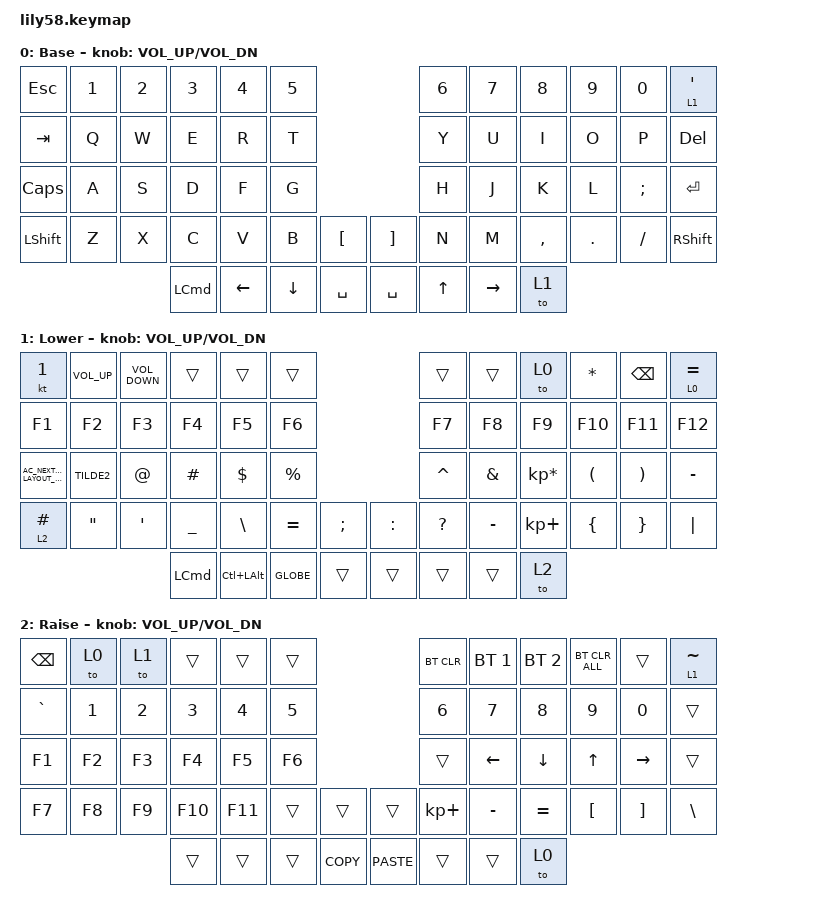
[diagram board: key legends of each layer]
/*
 * Copyright (c) 2020 The ZMK Contributors
 *
 * SPDX-License-Identifier: MIT
 */

#include <behaviors.dtsi>
#include <dt-bindings/zmk/bt.h>
#include <dt-bindings/zmk/keys.h>

/ {
    keymap {
        compatible = "zmk,keymap";

        default_layer {
            // ------------------------------------------------------------------------------------------------------------
            // |  ESC  |  1  |  2  |  3   |  4   |  5   |                   |  6   |  7    |  8    |  9   |   0   |   `   |
            // |  TAB  |  Q  |  W  |  E   |  R   |  T   |                   |  Y   |  U    |  I    |  O   |   P   |   -   |
            // |  CTRL |  A  |  S  |  D   |  F   |  G   |                   |  H   |  J    |  K    |  L   |   ;   |   '   |
            // | SHIFT |  Z  |  X  |  C   |  V   |  B   |   "["  |  |  "]"  |  N   |  M    |  ,    |  .   |   /   | SHIFT |
            //                     | ALT  | GUI  | LOWER|  SPACE |  | ENTER | RAISE| BSPC  | GUI   |

            display-name = "Base";
            bindings = <
&kp ESC         &kp N1  &kp N2  &kp N3            &kp N4          &kp N5                                                 &kp N6        &kp N7     &kp N8     &kp N9   &kp N0    &lt 1 APOSTROPHE
&kp TAB         &kp Q   &kp W   &kp E             &kp R           &kp T                                                  &kp Y         &kp U      &kp I      &kp O    &kp P     &kp DELETE
&kp CAPSLOCK    &kp A   &kp S   &kp D             &kp F           &kp G                                                  &kp H         &kp J      &kp K      &kp L    &kp SEMI  &kp ENTER
&kp LEFT_SHIFT  &kp Z   &kp X   &kp C             &kp V           &kp B           &kp LEFT_BRACKET    &kp RIGHT_BRACKET  &kp N         &kp M      &kp COMMA  &kp DOT  &kp FSLH  &kp RIGHT_SHIFT
                                &kp LEFT_COMMAND  &kp LEFT_ARROW  &kp DOWN_ARROW  &kp SPACE           &kp SPACE          &kp UP_ARROW  &kp RIGHT  &to 1
            >;

            sensor-bindings = <&inc_dec_kp C_VOL_UP C_VOL_DN>;
        };

        lower_layer {
            // ------------------------------------------------------------------------------------------------------------
            // | BTCLR | BT1 | BT2 |  BT3 |  BT4 |  BT5 |                   |      |       |       |      |       |       |
            // |  F1   |  F2 |  F3 |  F4  |  F5  |  F6  |                   |  F7  |  F8   |  F9   |  F10 |  F11  |  F12  |
            // |   `   |  !  |  @  |  #   |  $   |  %   |                   |  ^   |  &    |  *    |  (   |   )   |   ~   |
            // |       |     |     |      |      |      |        |  |       |      |  _    |  +    |  {   |   }   |  "|"  |
            //                     |      |      |      |        |  |       |      |       |       |

            display-name = "Lower";
            bindings = <
&kt NUMBER_1                          &kp C_VOLUME_UP    &kp C_VOLUME_DOWN  &trans            &trans        &trans                                 &trans        &trans     &to 0            &kp ASTERISK  &kp BACKSPACE  &lt 0 EQUAL
&kp F1                                &kp F2             &kp F3             &kp F4            &kp F5        &kp F6                                 &kp F7        &kp F8     &kp F9           &kp F10       &kp F11        &kp F12
&kp C_AC_NEXT_KEYBOARD_LAYOUT_SELECT  &kp TILDE2         &kp AT             &kp HASH          &kp DOLLAR    &kp PRCNT                              &kp CARET     &kp AMPS   &kp KP_MULTIPLY  &kp LPAR      &kp RPAR       &kp MINUS
&lt 2 HASH                            &kp DOUBLE_QUOTES  &kp SQT            &kp UNDERSCORE    &kp BSLH      &kp EQUAL  &kp SEMICOLON    &kp COLON  &kp QUESTION  &kp MINUS  &kp KP_PLUS      &kp LBRC      &kp RBRC       &kp PIPE
                                                                            &kp LEFT_COMMAND  &kp LC(LALT)  &kp GLOBE  &trans           &trans     &trans        &trans     &to 2
            >;

            sensor-bindings = <&inc_dec_kp C_VOL_UP C_VOL_DN>;
        };

        raise_layer {
            // ------------------------------------------------------------------------------------------------------------
            // |       |     |     |      |      |      |                   |      |       |       |      |       |       |
            // |   `   |  1  |  2  |  3   |  4   |  5   |                   |  6   |   7   |   8   |  9   |   0   |       |
            // |   F1  |  F2 |  F3 |  F4  |  F5  |  F6  |                   |      |   <-  |   v   |  ^   |  ->   |       |
            // |   F7  |  F8 |  F9 |  F10 |  F11 |  F12 |        |  |       |  +   |   -   |   =   |  [   |   ]   |   \   |
            //                     |      |      |      |        |  |       |      |       |       |

            display-name = "Raise";
            bindings = <
&kp BACKSPACE  &to 0   &to 1   &trans   &trans   &trans                             &bt BT_CLR   &bt BT_SEL 1  &bt BT_SEL 2  &bt BT_CLR_ALL  &trans     &lt 1 TILDE
&kp GRAVE      &kp N1  &kp N2  &kp N3   &kp N4   &kp N5                             &kp N6       &kp N7        &kp N8        &kp N9          &kp N0     &trans
&kp F1         &kp F2  &kp F3  &kp F4   &kp F5   &kp F6                             &trans       &kp LEFT      &kp DOWN      &kp UP          &kp RIGHT  &trans
&kp F7         &kp F8  &kp F9  &kp F10  &kp F11  &trans  &trans        &trans       &kp KP_PLUS  &kp MINUS     &kp EQUAL     &kp LBKT        &kp RBKT   &kp BSLH
                               &trans   &trans   &trans  &kp K_COPY    &kp K_PASTE  &trans       &trans        &to 0
            >;

            sensor-bindings = <&inc_dec_kp C_VOL_UP C_VOL_DN>;
        };

        extra_1 { status = "reserved"; };

        extra_2 { status = "reserved"; };

        extra_3 { status = "reserved"; };
    };
};
